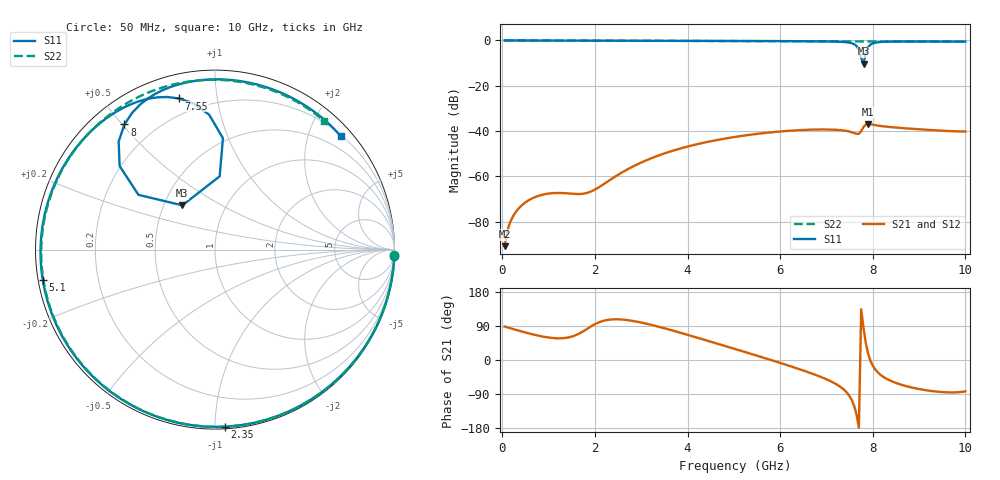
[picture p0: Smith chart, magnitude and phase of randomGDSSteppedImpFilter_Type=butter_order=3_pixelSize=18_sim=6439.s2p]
! freq	dB(S11)	phase(S11)	dB(S12)	phase(S12)
!  dB(S21)	phase(S21)	dB(S22)	phase(S22)
!S-par simulation data
#  GHz  S  DB  R 50
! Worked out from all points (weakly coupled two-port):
!   200 points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, 50 MHz to 10 GHz, reference 50 ohm
!   highest |S21| = -36.92 dB at 7.9 GHz (marker M1); lowest = -90.9 dB at 50 MHz (marker M2)
!   lowest |S11| = -10.3 dB at 7.8 GHz (marker M3), VSWR 1.88, Z = 31.1 + j16.9 ohm
!   |S11| at or under -10 dB: 7.794577 GHz to 7.802911 GHz (8.335 MHz wide, 0.107 % of centre)
!   |S22| runs from -0.5 to 0.0 dB; largest |S21 - S12| = 0
!   S11 on the Smith chart (normalised r, x): 50 MHz: 0, -58; 2.35 GHz: 0.01, -1.06; 5.1 GHz: 0.01, -0.09; 7.55 GHz: 0.12, +0.78; 8 GHz: 0.09, +0.51; 10 GHz: 0.22, +2.59
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0.05  -0.00 -2.0  -90.89 88.3  -90.89 88.3  -0.00 -1.7
0.15  -0.01 -5.9  -81.40 84.6  -81.40 84.6  -0.01 -5.1
0.4  -0.02 -15.7  -73.24 75.9  -73.24 75.9  -0.02 -13.6
0.75  -0.04 -29.2  -68.88 65.0  -68.88 65.0  -0.03 -25.4
1.75  -0.08 -66.2  -67.70 76.0  -67.70 76.0  -0.07 -58.1
2.35  -0.10 -86.8  -61.31 106.9  -61.31 106.9  -0.09 -76.9
3.4  -0.14 -120.4  -50.63 87.0  -50.63 87.0  -0.14 -108.1
4.25  -0.18 -145.6  -45.63 57.4  -45.63 57.4  -0.17 -132.3
5.05  -0.22 -168.7  -42.54 28.1  -42.54 28.1  -0.22 -154.6
5.1  -0.23 -170.1  -42.39 26.3  -42.39 26.3  -0.22 -156.0
5.9  -0.28 166.7  -40.40 -3.8  -40.40 -3.8  -0.28 -178.5
6.7  -0.37 141.9  -39.39 -36.4  -39.39 -36.4  -0.33 158.3
7.25  -0.55 121.4  -39.54 -66.8  -39.54 -66.8  -0.38 141.7
7.55  -1.25 103.4  -40.58 -106.4  -40.58 -106.4  -0.40 132.3
7.7  -4.12 85.9  -41.24 -178.6  -41.24 -178.6  -0.41 127.6
7.75  -7.77 86.3  -40.08 134.1  -40.08 134.1  -0.42 126.0
7.8  -10.27 126.4  -38.23 84.3  -38.23 84.3  -0.42 124.4
7.9  -3.02 138.8  -36.92 16.3  -36.92 16.3  -0.42 121.2
8  -1.31 125.9  -37.22 -15.0  -37.22 -15.0  -0.43 117.9
8.35  -0.52 103.3  -38.22 -52.8  -38.22 -52.8  -0.45 106.4
9.1  -0.45 73.9  -39.38 -78.8  -39.38 -78.8  -0.49 80.9
10  -0.50 42.0  -40.23 -82.8  -40.23 -82.8  -0.54 49.7
